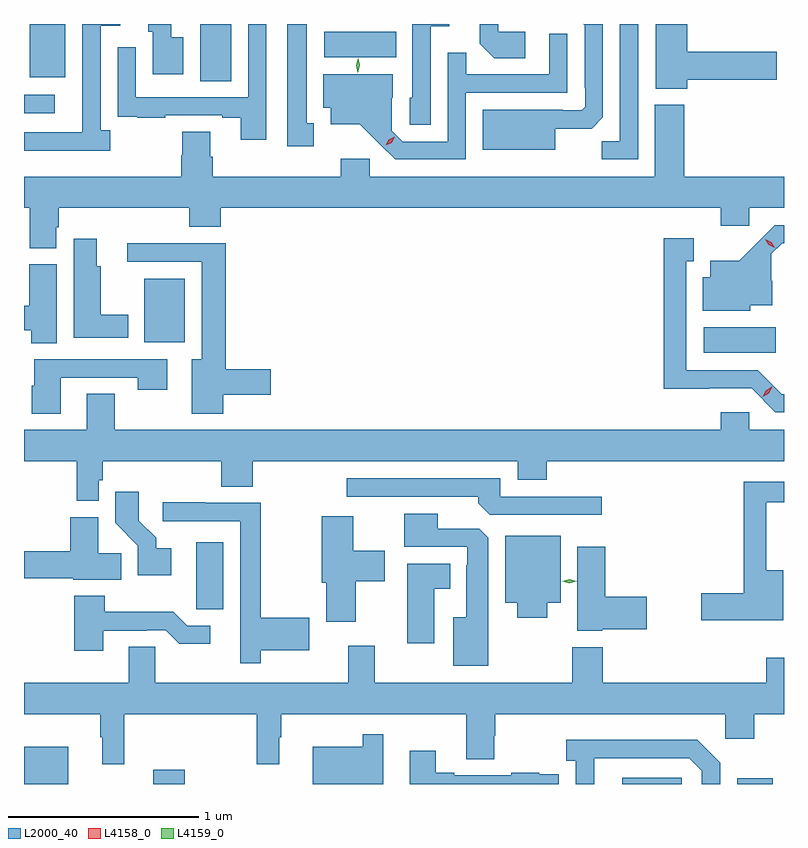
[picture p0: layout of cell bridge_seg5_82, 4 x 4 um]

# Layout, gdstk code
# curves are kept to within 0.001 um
import gdstk
lib = gdstk.Library(unit=1e-6, precision=1e-09)
def R(c, l, rs):  # rectangles x0, y0, x1, y1
    for r in rs: c.add(gdstk.rectangle(r[:2], r[2:], *l))
def P(c, l, *ps):  # polygons
    for p in ps: c.add(gdstk.Polygon(p, *l))
L2000_40 = (2000, 40)
L4158_0 = (4158, 0)
L4159_0 = (4159, 0)

bridge_seg5_82 = lib.new_cell('bridge_seg5_82')
R(bridge_seg5_82, L2000_40, [(122.921,889.692,123.154,889.888), (123.601,889.692,123.766,889.768), (126.069,889.692,126.384,889.725), (126.674,889.692,126.862,889.723), (126.498,891.962,126.878,892.096), (123.554,892.016,123.766,892.351), (122.921,893.223,123.082,893.319), (123.848,893.392,124.012,893.692), (122.951,893.411,123.139,893.692), (124.5,893.516,124.88,893.65)])
P(bridge_seg5_82, L2000_40, [(124.447,893.169),(124.408,893.169),(124.408,893.692),(124.307,893.692),(124.307,893.049),(124.447,893.049)],
  [(125.56,893.652),(125.418,893.652),(125.418,893.692),(125.319,893.692),(125.319,893.588),(125.395,893.512),(125.56,893.512)],
  [(123.376,893.134),(123.324,893.134),(123.324,893.682),(123.427,893.682),(123.427,893.692),(123.228,893.692),(123.228,893.121),(122.921,893.121),(122.921,893.024),(123.376,893.024)],
  [(125.716,893.141),(125.908,893.141),(125.967,893.2),(125.967,893.692),(125.864,893.692),(125.871,893.685),(125.871,893.356),(125.874,893.356),(125.874,893.256),(125.856,893.238),(125.756,893.238),(125.756,893.242),(125.336,893.242),(125.336,893.03),(125.716,893.03)],
  [(126.412,893.399),(126.883,893.399),(126.883,893.546),(126.412,893.546),(126.412,893.692),(126.245,893.692),(126.245,893.351),(126.412,893.351)],
  [(125.061,893.681),(125.158,893.681),(125.158,893.692),(124.965,893.692),(124.965,893.304),(124.95,893.304),(124.95,893.161),(125.061,893.161)],
  [(123.76,893.623),(123.697,893.623),(123.697,893.692),(123.575,893.692),(123.575,893.652),(123.599,893.652),(123.599,893.427),(123.76,893.427)],
  [(126.153,893.692),(126.057,893.692),(126.057,893.075),(125.962,893.075),(125.962,892.98),(126.153,892.98)],
  [(124.197,893.692),(124.101,893.692),(124.101,893.307),(123.51,893.307),(123.51,893.569),(123.414,893.569),(123.414,893.314),(123.415,893.314),(123.415,893.205),(123.517,893.205),(123.517,893.199),(123.665,893.199),(123.665,893.211),(123.965,893.211),(123.965,893.199),(124.061,893.199),(124.061,893.082),(124.197,893.082)],
  [(125.247,893.331),(125.781,893.331),(125.781,893.641),(125.685,893.641),(125.685,893.427),(125.249,893.427),(125.249,893.54),(125.151,893.54),(125.151,893.073),(124.914,893.073),(124.857,893.13),(124.857,893.304),(124.861,893.304),(124.861,893.428),(124.496,893.428),(124.496,893.252),(124.535,893.252),(124.535,893.165),(124.687,893.165),(124.874,892.98),(125.247,892.98)],
  [(123.091,892.623),(123.104,892.623),(123.104,892.724),(123.791,892.724),(123.791,892.625),(123.956,892.625),(123.956,892.724),(126.587,892.724),(126.587,892.629),(126.738,892.629),(126.738,892.724),(126.921,892.724),(126.921,892.888),(126.395,892.888),(126.395,893.266),(126.242,893.266),(126.242,892.888),(124.74,892.888),(124.74,892.984),(124.589,892.984),(124.589,892.888),(123.914,892.888),(123.914,892.994),(123.901,892.994),(123.901,893.126),(123.754,893.126),(123.754,893.001),(123.749,893.001),(123.749,892.888),(122.921,892.888),(122.921,892.724),(122.951,892.724),(122.951,892.513),(123.091,892.513)],
  [(126.744,892.211),(126.859,892.211),(126.859,892.34),(126.855,892.34),(126.855,892.482),(126.912,892.539),(126.921,892.539),(126.921,892.632),(126.872,892.632),(126.685,892.447),(126.533,892.447),(126.533,892.36),(126.494,892.36),(126.494,892.184),(126.744,892.184)],
  [(126.921,891.744),(126.909,891.744),(126.783,891.87),(126.406,891.87),(126.406,892.443),(126.445,892.443),(126.445,892.564),(126.288,892.564),(126.288,891.773),(126.75,891.774),(126.876,891.648),(126.921,891.648)],
  [(123.469,892.162),(123.325,892.162),(123.325,892.416),(123.304,892.416),(123.304,892.561),(123.182,892.561),(123.182,892.04),(123.469,892.04)],
  [(123.97,891.74),(124.219,891.74),(124.219,891.875),(123.983,891.875),(123.983,892.538),(123.465,892.538),(123.465,892.44),(123.857,892.44),(123.857,891.928),(123.803,891.928),(123.803,891.642),(123.97,891.642)],
  [(123.094,892.428),(122.948,892.428),(122.948,892.209),(122.921,892.209),(122.921,892.079),(122.96,892.079),(122.96,892.012),(123.094,892.012)],
  [(123.115,891.831),(123.52,891.831),(123.52,891.768),(123.676,891.768),(123.676,891.927),(122.975,891.927),(122.975,891.789),(122.963,891.789),(122.963,891.642),(123.115,891.642)],
  [(123.315,891.291),(123.335,891.291),(123.335,891.392),(123.959,891.392),(123.959,891.256),(124.124,891.256),(124.124,891.392),(125.519,891.392),(125.519,891.293),(125.672,891.293),(125.672,891.392),(126.921,891.392),(126.921,891.556),(126.738,891.556),(126.738,891.649),(126.587,891.649),(126.587,891.556),(123.399,891.556),(123.399,891.746),(123.251,891.746),(123.251,891.556),(122.921,891.556),(122.921,891.392),(123.199,891.392),(123.199,891.182),(123.315,891.182)],
  [(125.962,891.204),(125.427,891.204),(125.427,891.3),(124.62,891.3),(124.62,891.204),(125.312,891.204),(125.312,891.17),(125.373,891.108),(125.962,891.108)],
  [(126.916,890.818),(126.827,890.818),(126.827,891.174),(126.921,891.174),(126.921,891.282),(126.709,891.282),(126.709,890.696),(126.486,890.696),(126.486,890.554),(126.916,890.554)],
  [(123.697,890.932),(123.616,890.932),(123.616,890.987),(123.526,891.077),(123.526,891.229),(123.4,891.229),(123.4,891.066),(123.519,890.947),(123.519,890.792),(123.697,890.792)],
  [(124.168,890.396),(124.423,890.396),(124.423,890.567),(124.168,890.567),(124.168,891.171),(123.875,891.171),(123.875,891.174),(123.651,891.174),(123.651,891.075),(124.059,891.075),(124.059,890.55),(124.058,890.55),(124.058,890.328),(124.168,890.328)],
  [(125.365,890.987),(125.316,891.036),(125.098,891.036),(125.098,891.115),(124.922,891.115),(124.922,890.94),(125.253,890.94),(125.253,890.843),(125.249,890.843),(125.249,890.569),(125.18,890.569),(125.18,890.315),(125.365,890.315)],
  [(124.666,890.758),(124.819,890.758),(124.819,890.92),(124.654,890.92),(124.654,891.1),(124.489,891.1),(124.489,890.751),(124.511,890.751),(124.511,890.547),(124.666,890.547)],
  [(123.434,890.906),(123.313,890.906),(123.313,891.097),(123.164,891.097),(123.164,890.916),(122.921,890.916),(122.921,890.774),(123.18,890.774),(123.18,890.768),(123.434,890.768)],
  [(125.674,890.645),(125.746,890.645),(125.746,890.998),(125.453,890.998),(125.453,890.645),(125.516,890.645),(125.516,890.567),(125.674,890.567)],
  [(123.97,890.965),(123.827,890.965),(123.827,890.722),(123.828,890.722),(123.828,890.611),(123.97,890.611)],
  [(125.964,890.507),(126.199,890.507),(126.199,890.678),(125.981,890.678),(125.981,890.941),(125.834,890.941),(125.834,890.498),(125.964,890.498)],
  [(125.08,890.72),(125.164,890.72),(125.164,890.851),(124.937,890.851),(124.937,890.433),(125.08,890.433)],
  [(123.337,890.499),(123.566,890.499),(123.566,890.502),(123.666,890.502),(123.739,890.429),(123.901,890.429),(123.901,890.526),(123.78,890.526),(123.707,890.599),(123.345,890.599),(123.345,890.683),(123.185,890.683),(123.185,890.394),(123.337,890.394)],
  [(123.449,890.06),(124.147,890.06),(124.147,889.797),(124.264,889.797),(124.264,889.937),(124.276,889.937),(124.276,890.06),(125.249,890.06),(125.249,889.822),(125.397,889.822),(125.397,889.947),(125.402,889.947),(125.402,890.06),(126.612,890.06),(126.612,889.929),(126.764,889.929),(126.764,890.06),(126.921,890.06),(126.921,890.356),(126.827,890.356),(126.827,890.224),(125.966,890.224),(125.966,890.413),(125.806,890.413),(125.806,890.224),(124.768,890.224),(124.768,890.419),(124.628,890.419),(124.628,890.224),(123.612,890.224),(123.612,890.414),(123.473,890.414),(123.473,890.224),(122.921,890.224),(122.921,890.06),(123.321,890.06),(123.321,889.937),(123.332,889.937),(123.332,889.797),(123.449,889.797)],
  [(124.812,889.954),(124.704,889.954),(124.704,889.888),(124.442,889.888),(124.442,889.692),(124.812,889.692)],
  [(125.923,889.827),(126.423,889.827),(126.489,889.761),(126.489,889.692),(126.585,889.692),(126.585,889.803),(126.464,889.924),(125.775,889.924),(125.775,889.814),(125.826,889.814),(125.826,889.692),(125.923,889.692)],
  [(125.735,889.743),(125.633,889.743),(125.633,889.75),(125.485,889.75),(125.485,889.737),(125.185,889.737),(125.185,889.75),(125.089,889.75),(125.089,889.867),(124.952,889.867),(124.952,889.692),(125.735,889.692)])
P(bridge_seg5_82, L4158_0, [(126.871,892.514),(126.84,892.53),(126.823,892.559),(126.823,892.559),(126.823,892.559),(126.854,892.544),(126.871,892.515),(126.871,892.514)],
  [(126.808,891.731),(126.808,891.731),(126.826,891.763),(126.857,891.782),(126.858,891.782),(126.858,891.782),(126.84,891.749),(126.808,891.731)],
  [(124.825,893.053),(124.825,893.053),(124.842,893.082),(124.872,893.098),(124.873,893.098),(124.873,893.098),(124.856,893.068),(124.825,893.053)])
P(bridge_seg5_82, L4159_0, [(125.791,890.749),(125.754,890.759),(125.753,890.76),(125.754,890.76),(125.792,890.769),(125.829,890.758),(125.829,890.758),(125.829,890.758)],
  [(124.678,893.435),(124.678,893.435),(124.669,893.474),(124.679,893.513),(124.679,893.513),(124.679,893.513),(124.689,893.474),(124.678,893.435)])

lib.write_gds('bridge_seg5_82.gds')
